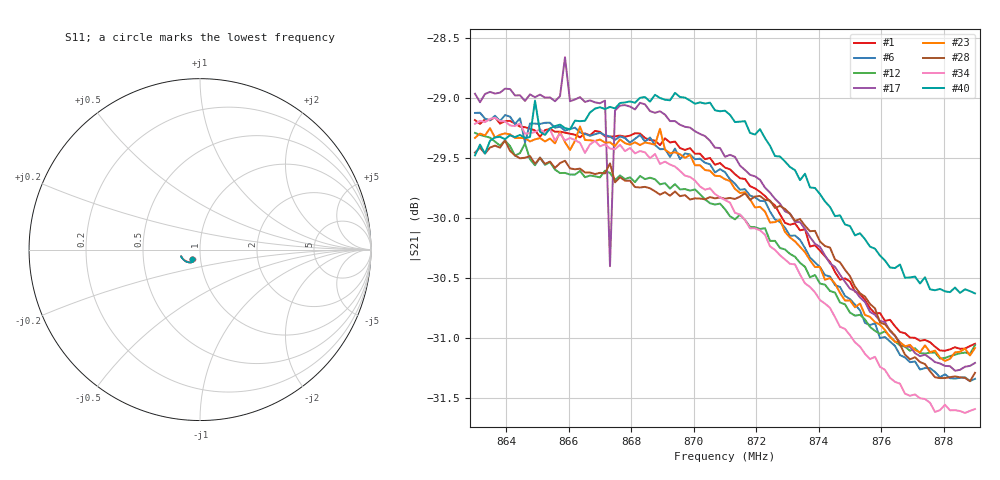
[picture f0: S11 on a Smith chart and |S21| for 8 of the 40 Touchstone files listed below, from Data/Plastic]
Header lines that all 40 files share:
# HZ S RI R 50
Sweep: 863 MHz to 879 MHz
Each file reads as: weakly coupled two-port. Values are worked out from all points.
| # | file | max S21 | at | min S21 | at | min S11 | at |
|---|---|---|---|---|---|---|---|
| 1 | po25s7.s2p | -29.16 dB | 863.64 MHz | -31.1 dB | 878.04 MHz | -23.9 dB | 865.24 MHz |
| 2 | po25s8.s2p | -29.12 dB | 863.16 MHz | -31.4 dB | 878.84 MHz | -24.1 dB | 865.08 MHz |
| 3 | po25s9.s2p | -29.28 dB | 866.04 MHz | -31.0 dB | 877.88 MHz | -23.8 dB | 865.4 MHz |
| 4 | po26s2.s2p | -29.45 dB | 863 MHz | -31.4 dB | 878.04 MHz | -23.6 dB | 863.96 MHz |
| 5 | po26s3.s2p | -28.89 dB | 863.8 MHz | -31.5 dB | 878.84 MHz | -24.0 dB | 865.24 MHz |
| 6 | po26s5.s2p | -29.12 dB | 863.16 MHz | -31.4 dB | 878.84 MHz | -23.8 dB | 865.24 MHz |
| 7 | po26s6.s2p | -29.06 dB | 863.16 MHz | -31.4 dB | 878.2 MHz | -23.7 dB | 865.24 MHz |
| 8 | po26s7.s2p | -29.31 dB | 864.6 MHz | -31.4 dB | 877.88 MHz | -23.7 dB | 864.6 MHz |
| 9 | po26s8.s2p | -28.80 dB | 866.52 MHz | -31.1 dB | 878.36 MHz | -23.8 dB | 864.44 MHz |
| 10 | po26s10.s2p | -29.44 dB | 863 MHz | -32.0 dB | 878.2 MHz | -23.4 dB | 864.44 MHz |
| 11 | po26s11.s2p | -28.75 dB | 865.24 MHz | -31.4 dB | 879 MHz | -23.5 dB | 864.44 MHz |
| 12 | po27s0.s2p | -29.29 dB | 863 MHz | -31.2 dB | 877.88 MHz | -23.8 dB | 865.08 MHz |
| 13 | po27s1.s2p | -28.99 dB | 864.12 MHz | -31.7 dB | 878.04 MHz | -23.7 dB | 866.04 MHz |
| 14 | po27s2.s2p | -29.27 dB | 864.12 MHz | -31.3 dB | 878.2 MHz | -23.8 dB | 864.44 MHz |
| 15 | po27s3.s2p | -28.76 dB | 864.12 MHz | -31.3 dB | 878.52 MHz | -23.9 dB | 864.12 MHz |
| 16 | po27s4.s2p | -28.87 dB | 863.96 MHz | -31.3 dB | 879 MHz | -23.8 dB | 864.92 MHz |
| 17 | po27s5.s2p | -28.66 dB | 865.88 MHz | -31.3 dB | 878.36 MHz | -24.0 dB | 865.88 MHz |
| 18 | po27s7.s2p | -29.07 dB | 866.52 MHz | -31.3 dB | 877.88 MHz | -23.7 dB | 866.52 MHz |
| 19 | po27s10.s2p | -29.20 dB | 868.44 MHz | -30.9 dB | 878.52 MHz | -23.9 dB | 865.56 MHz |
| 20 | po27s11.s2p | -28.79 dB | 866.2 MHz | -30.6 dB | 878.52 MHz | -23.9 dB | 864.44 MHz |
| 21 | po27s12.s2p | -28.81 dB | 864.12 MHz | -30.7 dB | 878.04 MHz | -23.8 dB | 864.44 MHz |
| 22 | po27s13.s2p | -29.04 dB | 868.44 MHz | -30.9 dB | 878.04 MHz | -23.7 dB | 865.24 MHz |
| 23 | po28s0.s2p | -29.24 dB | 866.36 MHz | -31.2 dB | 878.04 MHz | -23.8 dB | 866.36 MHz |
| 24 | po28s1.s2p | -29.40 dB | 863 MHz | -31.2 dB | 878.84 MHz | -23.5 dB | 865.4 MHz |
| 25 | po28s3.s2p | -29.25 dB | 863.16 MHz | -31.5 dB | 877.88 MHz | -23.6 dB | 865.4 MHz |
| 26 | po28s6.s2p | -29.28 dB | 863.48 MHz | -31.4 dB | 879 MHz | -23.7 dB | 864.92 MHz |
| 27 | po28s7.s2p | -29.34 dB | 863 MHz | -31.5 dB | 877.88 MHz | -23.6 dB | 863.96 MHz |
| 28 | po28s9.s2p | -29.35 dB | 863.96 MHz | -31.4 dB | 878.84 MHz | -23.7 dB | 865.88 MHz |
| 29 | po28s10.s2p | -29.18 dB | 865.4 MHz | -31.6 dB | 878.84 MHz | -23.7 dB | 865.4 MHz |
| 30 | po29s1.s2p | -29.09 dB | 863.96 MHz | -31.8 dB | 877.88 MHz | -24.0 dB | 863.96 MHz |
| 31 | po29s2.s2p | -29.08 dB | 863.96 MHz | -31.5 dB | 878.04 MHz | -23.9 dB | 865.4 MHz |
| 32 | po29s5.s2p | -29.17 dB | 865.56 MHz | -31.4 dB | 878.68 MHz | -23.9 dB | 865.56 MHz |
| 33 | po29s6.s2p | -29.13 dB | 863.48 MHz | -31.7 dB | 877.88 MHz | -23.8 dB | 865.88 MHz |
| 34 | po29s7.s2p | -29.16 dB | 863.64 MHz | -31.6 dB | 878.68 MHz | -23.8 dB | 864.44 MHz |
| 35 | po29s9.s2p | -29.06 dB | 865.56 MHz | -31.5 dB | 878.68 MHz | -24.5 dB | 865.56 MHz |
| 36 | po29s10.s2p | -29.18 dB | 863 MHz | -31.7 dB | 878.52 MHz | -24.0 dB | 865.4 MHz |
| 37 | po30s0.s2p | -29.11 dB | 863.16 MHz | -31.6 dB | 878.52 MHz | -23.7 dB | 864.44 MHz |
| 38 | po30s1.s2p | -29.56 dB | 864.92 MHz | -31.3 dB | 877.72 MHz | -24.3 dB | 864.92 MHz |
| 39 | po30s2.s2p | -29.47 dB | 863 MHz | -31.6 dB | 878.84 MHz | -23.6 dB | 863.96 MHz |
| 40 | po30s3.s2p | -28.96 dB | 869.4 MHz | -30.6 dB | 879 MHz | -24.0 dB | 864.92 MHz |
